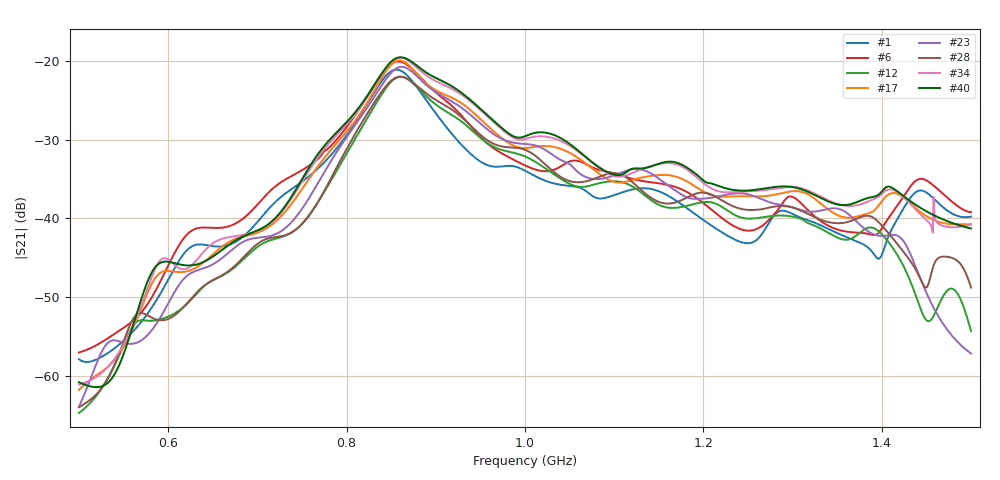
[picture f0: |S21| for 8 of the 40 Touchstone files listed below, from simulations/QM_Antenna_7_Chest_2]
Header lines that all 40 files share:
! TOUCHSTONE file generated by CST MICROWAVE STUDIO
! Header version: 2018
! Port assignment regex: !\s*Touchstone port\s*([0-9]+)\s*=\s*(CST MWS port|CST DS port)\s*([0-9]+|Zmin|Zmax)\s*\(\"(.*)\"\)(\s*mode\s*([0-9]+))?.*
! Touchstone port assignment:
! Touchstone port 1 = CST MWS port 1 ("")
! Touchstone port 2 = CST MWS port 2 ("")
# GHz S DB R 50
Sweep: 500 MHz to 1.5 GHz
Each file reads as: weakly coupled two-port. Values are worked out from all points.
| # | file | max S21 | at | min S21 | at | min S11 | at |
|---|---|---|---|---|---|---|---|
| 1 | 6_2.s2p | -21.09 dB | 856 MHz | -58.2 dB | 509 MHz | -15.8 dB | 1.44 GHz |
| 2 | 7_1.s2p | -26.30 dB | 843 MHz | -64.0 dB | 500 MHz | -43.6 dB | 1.378 GHz |
| 3 | 7_2.s2p | -20.80 dB | 856 MHz | -57.6 dB | 500 MHz | -16.0 dB | 1.441 GHz |
| 4 | 7_3.s2p | -19.39 dB | 859 MHz | -63.5 dB | 500 MHz | -23.2 dB | 1.242 GHz |
| 5 | 8_2.s2p | -20.39 dB | 858 MHz | -57.3 dB | 500 MHz | -15.7 dB | 1.441 GHz |
| 6 | 9_2.s2p | -20.06 dB | 858 MHz | -57.0 dB | 500 MHz | -15.2 dB | 1.441 GHz |
| 7 | 9_5.s2p | -20.95 dB | 861 MHz | -65.3 dB | 523 MHz | -44.7 dB | 778 MHz |
| 8 | 9_6.s2p | -22.05 dB | 861 MHz | -64.9 dB | 500 MHz | -51.9 dB | 1.218 GHz |
| 9 | 10_1.s2p | -26.19 dB | 892 MHz | -61.3 dB | 500 MHz | -29.3 dB | 1.38 GHz |
| 10 | 10_2.s2p | -19.71 dB | 859 MHz | -56.8 dB | 500 MHz | -15.4 dB | 1.3 GHz |
| 11 | 10_5.s2p | -20.86 dB | 861 MHz | -64.3 dB | 500 MHz | -37.3 dB | 778 MHz |
| 12 | 10_6.s2p | -21.99 dB | 861 MHz | -64.7 dB | 500 MHz | -44.3 dB | 1.217 GHz |
| 13 | 11_1.s2p | -23.82 dB | 881 MHz | -60.6 dB | 500 MHz | -29.3 dB | 1.38 GHz |
| 14 | 11_2.s2p | -19.26 dB | 860 MHz | -56.5 dB | 500 MHz | -16.3 dB | 1.3 GHz |
| 15 | 11_3.s2p | -18.74 dB | 858 MHz | -62.4 dB | 500 MHz | -22.0 dB | 1.241 GHz |
| 16 | 12_2.s2p | -18.78 dB | 863 MHz | -56.3 dB | 500 MHz | -29.3 dB | 1.452 GHz |
| 17 | 12_4.s2p | -19.91 dB | 859 MHz | -61.8 dB | 500 MHz | -38.3 dB | 1.305 GHz |
| 18 | 12_5.s2p | -20.77 dB | 861 MHz | -64.0 dB | 500 MHz | -51.0 dB | 697 MHz |
| 19 | 12_6.s2p | -21.99 dB | 860 MHz | -64.4 dB | 500 MHz | -46.5 dB | 789 MHz |
| 20 | 13_1.s2p | -19.76 dB | 869 MHz | -59.3 dB | 500 MHz | -35.0 dB | 1.379 GHz |
| 21 | 13_2.s2p | -18.34 dB | 863 MHz | -56.1 dB | 500 MHz | -18.4 dB | 1.299 GHz |
| 22 | 13_4.s2p | -19.77 dB | 960 MHz | -61.6 dB | 500 MHz | -36.3 dB | 1.305 GHz |
| 23 | 13_5.s2p | -20.73 dB | 862 MHz | -63.9 dB | 500 MHz | -39.9 dB | 697 MHz |
| 24 | 14_1.s2p | -17.86 dB | 866.5 MHz | -58.7 dB | 500 MHz | -41.4 dB | 1.381 GHz |
| 25 | 14_2.s2p | -17.94 dB | 863 MHz | -56.0 dB | 500 MHz | -19.7 dB | 1.299 GHz |
| 26 | 14_4.s2p | -19.68 dB | 860 MHz | -61.4 dB | 500 MHz | -34.0 dB | 1.304 GHz |
| 27 | 14_5.s2p | -20.68 dB | 861 MHz | -63.9 dB | 500 MHz | -41.0 dB | 1.255 GHz |
| 28 | 14_6.s2p | -21.99 dB | 860 MHz | -64.0 dB | 500 MHz | -34.5 dB | 789 MHz |
| 29 | 15_2.s2p | -17.47 dB | 865 MHz | -55.8 dB | 500 MHz | -21.1 dB | 1.299 GHz |
| 30 | 15_3.s2p | -18.16 dB | 860 MHz | -61.7 dB | 500 MHz | -24.0 dB | 1.239 GHz |
| 31 | 15_6.s2p | -22.01 dB | 859 MHz | -63.8 dB | 500 MHz | -31.9 dB | 788 MHz |
| 32 | 16_2.s2p | -16.63 dB | 669 MHz | -55.7 dB | 501 MHz | -22.9 dB | 1.299 GHz |
| 33 | 16_3.s2p | -17.87 dB | 866 MHz | -61.6 dB | 500 MHz | -24.4 dB | 1.239 GHz |
| 34 | 16_4.s2p | -19.57 dB | 860 MHz | -61.1 dB | 500 MHz | -32.6 dB | 1.302 GHz |
| 35 | 17_2.s2p | -16.66 dB | 865 MHz | -55.6 dB | 500 MHz | -25.2 dB | 1.299 GHz |
| 36 | 17_3.s2p | -17.95 dB | 861 MHz | -61.5 dB | 500 MHz | -24.8 dB | 1.238 GHz |
| 37 | 17_5.s2p | -20.80 dB | 861 MHz | -63.6 dB | 500 MHz | -41.5 dB | 1.254 GHz |
| 38 | 18_1.s2p | -13.41 dB | 861 MHz | -57.2 dB | 500 MHz | -20.4 dB | 1.376 GHz |
| 39 | 18_2.s2p | -16.26 dB | 866.5 MHz | -55.7 dB | 510 MHz | -28.4 dB | 1.299 GHz |
| 40 | 18_4.s2p | -19.52 dB | 861 MHz | -61.4 dB | 520 MHz | -32.7 dB | 1.301 GHz |
